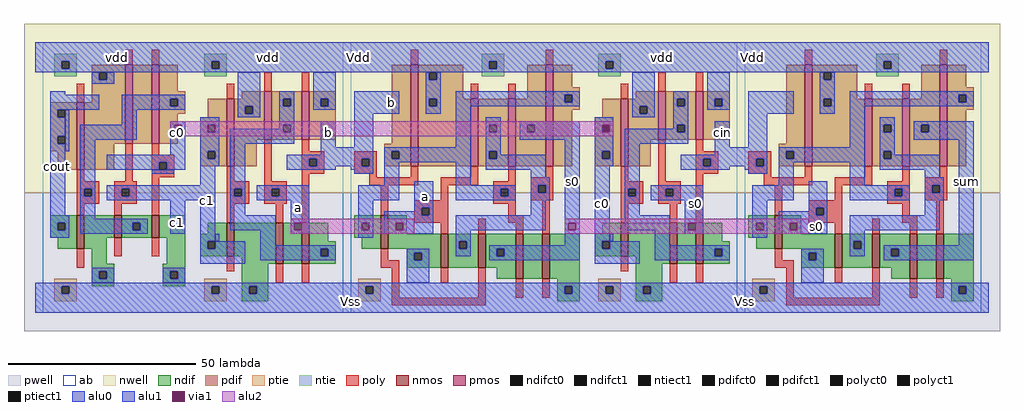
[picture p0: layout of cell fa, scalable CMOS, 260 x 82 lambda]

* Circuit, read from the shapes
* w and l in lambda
.subckt fa Vdd Vss a b c0 c1 cin cout s0 sum
M1 Vss n1 cout Vss nfet w=9 l=2
M2 n1 c1 Vss Vss nfet w=6 l=2
M3 Vss c0 n1 Vss nfet w=6 l=2
M4 Vss n2 c1 Vss nfet w=9 l=2
M5 n3 a Vss Vss nfet w=11 l=2
M6 n2 b n3 Vss nfet w=11 l=2
M7 Vss b n4 Vss nfet w=9 l=2
M8 n5 a Vss Vss nfet w=9 l=2
M9 s0 b n5 Vss nfet w=9 l=2
M10 n6 n4 s0 Vss nfet w=12 l=2
M11 Vss n5 n6 Vss nfet w=12 l=2
M12 Vss n7 c0 Vss nfet w=9 l=2
M13 n8 s0 Vss Vss nfet w=11 l=2
M14 n7 cin n8 Vss nfet w=11 l=2
M15 Vss cin n9 Vss nfet w=9 l=2
M16 n10 s0 Vss Vss nfet w=9 l=2
M17 sum cin n10 Vss nfet w=9 l=2
M18 n11 n9 sum Vss nfet w=12 l=2
M19 Vss n10 n11 Vss nfet w=12 l=2
M20 Vdd n1 cout Vdd pfet w=18 l=2
M21 n12 c1 Vdd Vdd pfet w=21 l=2
M22 n1 c0 n12 Vdd pfet w=21 l=2
M23 Vdd n2 c1 Vdd pfet w=18 l=2
M24 n2 a Vdd Vdd pfet w=13 l=2
M25 Vdd b n2 Vdd pfet w=13 l=2
M26 Vdd b n4 Vdd pfet w=27 l=2
M27 n5 a Vdd Vdd pfet w=18 l=2
M28 s0 n4 n5 Vdd pfet w=18 l=2
M29 n4 n5 s0 Vdd pfet w=27 l=2
M30 Vdd n7 c0 Vdd pfet w=18 l=2
M31 n7 s0 Vdd Vdd pfet w=13 l=2
M32 Vdd cin n7 Vdd pfet w=13 l=2
M33 Vdd cin n9 Vdd pfet w=27 l=2
M34 n10 s0 Vdd Vdd pfet w=18 l=2
M35 sum n9 n10 Vdd pfet w=18 l=2
M36 n9 n10 sum Vdd pfet w=27 l=2
.ends

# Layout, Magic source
magic
tech scmos
<< ab >>
rect -35 5 45 77
rect 47 5 150 77
rect 152 5 215 77
<< nwell >>
rect -40 37 220 82
<< pwell >>
rect -40 0 220 37
<< poly >>
rect -13 71 -11 75
rect -6 71 -4 75
rect -26 61 -24 66
rect 63 71 65 75
rect 14 62 16 66
rect 24 64 26 69
rect 34 64 36 69
rect -26 40 -24 43
rect -13 40 -11 50
rect -6 47 -4 50
rect -6 45 0 47
rect -6 43 -4 45
rect -2 43 0 45
rect -6 41 0 43
rect -26 38 -20 40
rect -26 36 -24 38
rect -22 36 -20 38
rect -26 34 -20 36
rect -16 38 -10 40
rect -16 36 -14 38
rect -12 36 -10 38
rect -16 34 -10 36
rect -26 31 -24 34
rect -16 31 -14 34
rect -6 31 -4 41
rect 14 40 16 44
rect 24 40 26 51
rect 34 48 36 51
rect 34 46 40 48
rect 34 44 36 46
rect 38 44 40 46
rect 34 42 40 44
rect 48 46 54 48
rect 48 44 50 46
rect 52 44 54 46
rect 99 71 101 75
rect 79 62 81 66
rect 89 62 91 66
rect 168 71 170 75
rect 119 62 121 66
rect 129 64 131 69
rect 139 64 141 69
rect 48 42 54 44
rect 14 38 20 40
rect 14 36 16 38
rect 18 36 20 38
rect 14 34 20 36
rect 24 38 30 40
rect 24 36 26 38
rect 28 36 30 38
rect 24 34 30 36
rect 14 29 16 34
rect 27 29 29 34
rect 34 29 36 42
rect 52 41 54 42
rect 63 41 65 44
rect 79 41 81 44
rect 52 39 65 41
rect 71 39 81 41
rect 89 40 91 44
rect 99 41 101 44
rect 55 31 57 39
rect 71 35 73 39
rect 64 33 73 35
rect 85 38 91 40
rect 85 36 87 38
rect 89 36 91 38
rect 85 34 91 36
rect 95 39 101 41
rect 95 37 97 39
rect 99 37 101 39
rect 95 35 101 37
rect 119 40 121 44
rect 129 40 131 51
rect 139 48 141 51
rect 139 46 145 48
rect 139 44 141 46
rect 143 44 145 46
rect 139 42 145 44
rect 153 46 159 48
rect 153 44 155 46
rect 157 44 159 46
rect 204 71 206 75
rect 184 62 186 66
rect 194 62 196 66
rect 153 42 159 44
rect 119 38 125 40
rect 119 36 121 38
rect 123 36 125 38
rect 64 31 66 33
rect 68 31 73 33
rect -26 17 -24 22
rect -16 20 -14 25
rect -6 20 -4 25
rect 14 16 16 20
rect 64 29 73 31
rect 89 31 91 34
rect 71 26 73 29
rect 81 26 83 30
rect 89 29 93 31
rect 91 26 93 29
rect 98 26 100 35
rect 119 34 125 36
rect 129 38 135 40
rect 129 36 131 38
rect 133 36 135 38
rect 129 34 135 36
rect 119 29 121 34
rect 132 29 134 34
rect 139 29 141 42
rect 157 41 159 42
rect 168 41 170 44
rect 184 41 186 44
rect 157 39 170 41
rect 176 39 186 41
rect 194 40 196 44
rect 204 41 206 44
rect 160 31 162 39
rect 176 35 178 39
rect 169 33 178 35
rect 190 38 196 40
rect 190 36 192 38
rect 194 36 196 38
rect 190 34 196 36
rect 200 39 206 41
rect 200 37 202 39
rect 204 37 206 39
rect 200 35 206 37
rect 169 31 171 33
rect 173 31 178 33
rect 55 19 57 22
rect 27 13 29 18
rect 34 13 36 18
rect 55 17 60 19
rect 58 9 60 17
rect 71 13 73 17
rect 81 9 83 17
rect 119 16 121 20
rect 169 29 178 31
rect 194 31 196 34
rect 176 26 178 29
rect 186 26 188 30
rect 194 29 198 31
rect 196 26 198 29
rect 203 26 205 35
rect 160 19 162 22
rect 91 9 93 14
rect 98 9 100 14
rect 58 7 83 9
rect 132 13 134 18
rect 139 13 141 18
rect 160 17 165 19
rect 163 9 165 17
rect 176 13 178 17
rect 186 9 188 17
rect 196 9 198 14
rect 203 9 205 14
rect 163 7 188 9
<< ndif >>
rect -33 29 -26 31
rect -33 27 -31 29
rect -29 27 -26 29
rect -33 25 -26 27
rect -31 22 -26 25
rect -24 25 -16 31
rect -14 29 -6 31
rect -14 27 -11 29
rect -9 27 -6 29
rect -14 25 -6 27
rect -4 25 3 31
rect 48 29 55 31
rect 9 26 14 29
rect -24 22 -18 25
rect -22 18 -18 22
rect -2 18 3 25
rect 7 24 14 26
rect 7 22 9 24
rect 11 22 14 24
rect 7 20 14 22
rect 16 20 27 29
rect -22 16 -16 18
rect -22 14 -20 16
rect -18 14 -16 16
rect -22 12 -16 14
rect -3 16 3 18
rect 18 18 27 20
rect 29 18 34 29
rect 36 24 41 29
rect 48 27 50 29
rect 52 27 55 29
rect 48 25 55 27
rect 36 22 43 24
rect 50 22 55 25
rect 57 26 62 31
rect 153 29 160 31
rect 114 26 119 29
rect 57 22 71 26
rect 36 20 39 22
rect 41 20 43 22
rect 36 18 43 20
rect 62 21 71 22
rect 62 19 64 21
rect 66 19 71 21
rect -3 14 -1 16
rect 1 14 3 16
rect -3 12 3 14
rect 18 12 25 18
rect 62 17 71 19
rect 73 24 81 26
rect 73 22 76 24
rect 78 22 81 24
rect 73 17 81 22
rect 83 22 91 26
rect 83 20 86 22
rect 88 20 91 22
rect 83 17 91 20
rect 18 10 20 12
rect 22 10 25 12
rect 18 8 25 10
rect 86 14 91 17
rect 93 14 98 26
rect 100 14 108 26
rect 112 24 119 26
rect 112 22 114 24
rect 116 22 119 24
rect 112 20 119 22
rect 121 20 132 29
rect 123 18 132 20
rect 134 18 139 29
rect 141 24 146 29
rect 153 27 155 29
rect 157 27 160 29
rect 153 25 160 27
rect 141 22 148 24
rect 155 22 160 25
rect 162 26 167 31
rect 162 22 176 26
rect 141 20 144 22
rect 146 20 148 22
rect 141 18 148 20
rect 167 21 176 22
rect 167 19 169 21
rect 171 19 176 21
rect 102 12 108 14
rect 102 10 104 12
rect 106 10 108 12
rect 102 8 108 10
rect 123 12 130 18
rect 167 17 176 19
rect 178 24 186 26
rect 178 22 181 24
rect 183 22 186 24
rect 178 17 186 22
rect 188 22 196 26
rect 188 20 191 22
rect 193 20 196 22
rect 188 17 196 20
rect 123 10 125 12
rect 127 10 130 12
rect 123 8 130 10
rect 191 14 196 17
rect 198 14 203 26
rect 205 14 213 26
rect 207 12 213 14
rect 207 10 209 12
rect 211 10 213 12
rect 207 8 213 10
<< pdif >>
rect -22 69 -13 71
rect -22 67 -20 69
rect -18 67 -13 69
rect -22 61 -13 67
rect -33 59 -26 61
rect -33 57 -31 59
rect -29 57 -26 59
rect -33 52 -26 57
rect -33 50 -31 52
rect -29 50 -26 52
rect -33 48 -26 50
rect -31 43 -26 48
rect -24 50 -13 61
rect -11 50 -6 71
rect -4 64 1 71
rect -4 62 3 64
rect 18 62 24 64
rect -4 60 -1 62
rect 1 60 3 62
rect -4 58 3 60
rect -4 50 1 58
rect 9 57 14 62
rect 7 55 14 57
rect 7 53 9 55
rect 11 53 14 55
rect -24 43 -16 50
rect 7 48 14 53
rect 7 46 9 48
rect 11 46 14 48
rect 7 44 14 46
rect 16 60 24 62
rect 16 58 19 60
rect 21 58 24 60
rect 16 51 24 58
rect 26 62 34 64
rect 26 60 29 62
rect 31 60 34 62
rect 26 55 34 60
rect 26 53 29 55
rect 31 53 34 55
rect 26 51 34 53
rect 36 62 43 64
rect 36 60 39 62
rect 41 60 43 62
rect 36 51 43 60
rect 16 44 22 51
rect 58 50 63 71
rect 56 48 63 50
rect 56 46 58 48
rect 60 46 63 48
rect 56 44 63 46
rect 65 69 77 71
rect 65 67 68 69
rect 70 67 77 69
rect 65 62 77 67
rect 94 62 99 71
rect 65 60 68 62
rect 70 60 79 62
rect 65 44 79 60
rect 81 55 89 62
rect 81 53 84 55
rect 86 53 89 55
rect 81 48 89 53
rect 81 46 84 48
rect 86 46 89 48
rect 81 44 89 46
rect 91 55 99 62
rect 91 53 94 55
rect 96 53 99 55
rect 91 44 99 53
rect 101 65 106 71
rect 101 63 108 65
rect 101 61 104 63
rect 106 61 108 63
rect 123 62 129 64
rect 101 59 108 61
rect 101 44 106 59
rect 114 57 119 62
rect 112 55 119 57
rect 112 53 114 55
rect 116 53 119 55
rect 112 48 119 53
rect 112 46 114 48
rect 116 46 119 48
rect 112 44 119 46
rect 121 60 129 62
rect 121 58 124 60
rect 126 58 129 60
rect 121 51 129 58
rect 131 62 139 64
rect 131 60 134 62
rect 136 60 139 62
rect 131 55 139 60
rect 131 53 134 55
rect 136 53 139 55
rect 131 51 139 53
rect 141 62 148 64
rect 141 60 144 62
rect 146 60 148 62
rect 141 51 148 60
rect 121 44 127 51
rect 163 50 168 71
rect 161 48 168 50
rect 161 46 163 48
rect 165 46 168 48
rect 161 44 168 46
rect 170 69 182 71
rect 170 67 173 69
rect 175 67 182 69
rect 170 62 182 67
rect 199 62 204 71
rect 170 60 173 62
rect 175 60 184 62
rect 170 44 184 60
rect 186 55 194 62
rect 186 53 189 55
rect 191 53 194 55
rect 186 48 194 53
rect 186 46 189 48
rect 191 46 194 48
rect 186 44 194 46
rect 196 55 204 62
rect 196 53 199 55
rect 201 53 204 55
rect 196 44 204 53
rect 206 65 211 71
rect 206 63 213 65
rect 206 61 209 63
rect 211 61 213 63
rect 206 59 213 61
rect 206 44 211 59
<< alu1 >>
rect -37 72 217 77
rect -37 70 -30 72
rect -28 70 10 72
rect 12 70 84 72
rect 86 70 115 72
rect 117 70 189 72
rect 191 70 217 72
rect -37 69 217 70
rect -33 63 -29 64
rect -33 59 -20 63
rect -33 57 -31 59
rect -33 52 -29 57
rect -33 50 -31 52
rect -33 31 -29 50
rect -1 55 3 56
rect -1 53 0 55
rect 2 53 3 55
rect -1 47 3 53
rect -18 45 3 47
rect -18 43 -4 45
rect -2 43 3 45
rect 7 55 12 57
rect 7 53 9 55
rect 11 53 12 55
rect 48 58 60 64
rect 7 48 12 53
rect 7 46 9 48
rect 11 46 12 48
rect 7 44 12 46
rect 7 39 11 44
rect -33 29 -28 31
rect -33 27 -31 29
rect -29 27 -28 29
rect -33 25 -28 27
rect -18 38 11 39
rect -18 36 -14 38
rect -12 36 11 38
rect -18 35 11 36
rect -1 26 3 35
rect 7 24 11 35
rect 39 49 43 56
rect 48 49 53 58
rect 39 47 53 49
rect 30 46 53 47
rect 30 44 36 46
rect 38 44 50 46
rect 52 44 53 46
rect 30 43 43 44
rect 47 43 53 44
rect 48 42 53 43
rect 22 38 36 39
rect 22 36 26 38
rect 28 36 36 38
rect 22 35 36 36
rect 7 22 9 24
rect 11 22 19 24
rect 7 18 19 22
rect 31 29 36 35
rect 31 27 32 29
rect 34 27 36 29
rect 31 26 36 27
rect 64 33 69 40
rect 92 55 108 56
rect 92 53 94 55
rect 96 53 108 55
rect 92 51 108 53
rect 64 32 66 33
rect 56 31 66 32
rect 68 31 69 33
rect 56 29 69 31
rect 56 27 59 29
rect 61 27 69 29
rect 56 26 69 27
rect 104 29 108 51
rect 104 27 105 29
rect 107 27 108 29
rect 104 23 108 27
rect 84 22 108 23
rect 84 20 86 22
rect 88 20 108 22
rect 84 19 108 20
rect 112 55 117 57
rect 112 53 114 55
rect 116 53 117 55
rect 153 58 165 64
rect 112 48 117 53
rect 112 46 114 48
rect 116 46 117 48
rect 112 44 117 46
rect 112 24 116 44
rect 144 49 148 56
rect 153 49 158 58
rect 144 47 158 49
rect 135 46 158 47
rect 135 44 141 46
rect 143 44 155 46
rect 157 44 158 46
rect 135 43 148 44
rect 152 43 158 44
rect 153 42 158 43
rect 127 38 141 39
rect 127 36 131 38
rect 133 36 141 38
rect 127 35 141 36
rect 112 22 114 24
rect 116 22 124 24
rect 112 18 124 22
rect 136 29 141 35
rect 136 27 137 29
rect 139 27 141 29
rect 136 26 141 27
rect 169 33 174 40
rect 197 55 213 56
rect 197 53 199 55
rect 201 53 213 55
rect 197 51 213 53
rect 169 32 171 33
rect 161 31 171 32
rect 173 31 174 33
rect 161 29 174 31
rect 161 27 164 29
rect 166 27 174 29
rect 161 26 174 27
rect 209 23 213 51
rect 189 22 213 23
rect 189 20 191 22
rect 193 20 213 22
rect 189 19 213 20
rect -37 12 217 13
rect -37 10 -30 12
rect -28 10 10 12
rect 12 10 20 12
rect 22 10 51 12
rect 53 10 104 12
rect 106 10 115 12
rect 117 10 125 12
rect 127 10 156 12
rect 158 10 209 12
rect 211 10 217 12
rect -37 5 217 10
<< alu2 >>
rect -1 55 117 56
rect -1 53 0 55
rect 2 53 114 55
rect 116 53 117 55
rect -1 52 117 53
rect 31 29 64 30
rect 31 27 32 29
rect 34 27 59 29
rect 61 27 64 29
rect 31 26 64 27
rect 104 29 169 30
rect 104 27 105 29
rect 107 27 137 29
rect 139 27 164 29
rect 166 27 169 29
rect 104 26 169 27
<< ptie >>
rect -32 12 -26 14
rect 8 12 14 14
rect -32 10 -30 12
rect -28 10 -26 12
rect -32 8 -26 10
rect 8 10 10 12
rect 12 10 14 12
rect 8 8 14 10
rect 49 12 55 14
rect 49 10 51 12
rect 53 10 55 12
rect 49 8 55 10
rect 113 12 119 14
rect 113 10 115 12
rect 117 10 119 12
rect 113 8 119 10
rect 154 12 160 14
rect 154 10 156 12
rect 158 10 160 12
rect 154 8 160 10
<< ntie >>
rect -32 72 -26 74
rect -32 70 -30 72
rect -28 70 -26 72
rect 8 72 14 74
rect -32 68 -26 70
rect 8 70 10 72
rect 12 70 14 72
rect 82 72 88 74
rect 8 68 14 70
rect 82 70 84 72
rect 86 70 88 72
rect 113 72 119 74
rect 82 68 88 70
rect 113 70 115 72
rect 117 70 119 72
rect 187 72 193 74
rect 113 68 119 70
rect 187 70 189 72
rect 191 70 193 72
rect 187 68 193 70
<< nmos >>
rect -26 22 -24 31
rect -16 25 -14 31
rect -6 25 -4 31
rect 14 20 16 29
rect 27 18 29 29
rect 34 18 36 29
rect 55 22 57 31
rect 71 17 73 26
rect 81 17 83 26
rect 91 14 93 26
rect 98 14 100 26
rect 119 20 121 29
rect 132 18 134 29
rect 139 18 141 29
rect 160 22 162 31
rect 176 17 178 26
rect 186 17 188 26
rect 196 14 198 26
rect 203 14 205 26
<< pmos >>
rect -26 43 -24 61
rect -13 50 -11 71
rect -6 50 -4 71
rect 14 44 16 62
rect 24 51 26 64
rect 34 51 36 64
rect 63 44 65 71
rect 79 44 81 62
rect 89 44 91 62
rect 99 44 101 71
rect 119 44 121 62
rect 129 51 131 64
rect 139 51 141 64
rect 168 44 170 71
rect 184 44 186 62
rect 194 44 196 62
rect 204 44 206 71
<< polyct0 >>
rect -24 36 -22 38
rect 16 36 18 38
rect 87 36 89 38
rect 97 37 99 39
rect 121 36 123 38
rect 192 36 194 38
rect 202 37 204 39
<< polyct1 >>
rect -4 43 -2 45
rect -14 36 -12 38
rect 36 44 38 46
rect 50 44 52 46
rect 26 36 28 38
rect 141 44 143 46
rect 155 44 157 46
rect 66 31 68 33
rect 131 36 133 38
rect 171 31 173 33
<< ndifct0 >>
rect -11 27 -9 29
rect -20 14 -18 16
rect 50 27 52 29
rect 39 20 41 22
rect 64 19 66 21
rect -1 14 1 16
rect 76 22 78 24
rect 155 27 157 29
rect 144 20 146 22
rect 169 19 171 21
rect 181 22 183 24
<< ndifct1 >>
rect -31 27 -29 29
rect 9 22 11 24
rect 86 20 88 22
rect 20 10 22 12
rect 114 22 116 24
rect 104 10 106 12
rect 191 20 193 22
rect 125 10 127 12
rect 209 10 211 12
<< ntiect1 >>
rect -30 70 -28 72
rect 10 70 12 72
rect 84 70 86 72
rect 115 70 117 72
rect 189 70 191 72
<< ptiect1 >>
rect -30 10 -28 12
rect 10 10 12 12
rect 51 10 53 12
rect 115 10 117 12
rect 156 10 158 12
<< pdifct0 >>
rect -20 67 -18 69
rect -1 60 1 62
rect 19 58 21 60
rect 29 60 31 62
rect 29 53 31 55
rect 39 60 41 62
rect 58 46 60 48
rect 68 67 70 69
rect 68 60 70 62
rect 84 53 86 55
rect 84 46 86 48
rect 104 61 106 63
rect 124 58 126 60
rect 134 60 136 62
rect 134 53 136 55
rect 144 60 146 62
rect 163 46 165 48
rect 173 67 175 69
rect 173 60 175 62
rect 189 53 191 55
rect 189 46 191 48
rect 209 61 211 63
<< pdifct1 >>
rect -31 57 -29 59
rect -31 50 -29 52
rect 9 53 11 55
rect 9 46 11 48
rect 94 53 96 55
rect 114 53 116 55
rect 114 46 116 48
rect 199 53 201 55
<< alu0 >>
rect -22 67 -20 69
rect -18 67 -16 69
rect -22 66 -16 67
rect -14 62 3 63
rect -14 60 -1 62
rect 1 60 3 62
rect -14 59 3 60
rect 17 60 23 69
rect -29 48 -28 59
rect -14 55 -10 59
rect 17 58 19 60
rect 21 58 23 60
rect 17 57 23 58
rect 28 62 32 64
rect 28 60 29 62
rect 31 60 32 62
rect -25 51 -10 55
rect -25 38 -21 51
rect 28 55 32 60
rect 37 62 43 69
rect 67 67 68 69
rect 70 67 71 69
rect 37 60 39 62
rect 41 60 43 62
rect 37 59 43 60
rect 67 62 71 67
rect 67 60 68 62
rect 70 60 71 62
rect 67 58 71 60
rect 75 63 108 64
rect 75 61 104 63
rect 106 61 108 63
rect 75 60 108 61
rect 122 60 128 69
rect 28 54 29 55
rect 15 53 29 54
rect 31 53 32 55
rect 15 50 32 53
rect -6 42 0 43
rect -25 36 -24 38
rect -22 36 -21 38
rect -25 30 -21 36
rect -25 29 -7 30
rect -25 27 -11 29
rect -9 27 -7 29
rect -25 26 -7 27
rect 15 38 19 50
rect 75 49 79 60
rect 122 58 124 60
rect 126 58 128 60
rect 122 57 128 58
rect 133 62 137 64
rect 133 60 134 62
rect 136 60 137 62
rect 56 48 79 49
rect 56 46 58 48
rect 60 46 79 48
rect 56 45 79 46
rect 56 39 60 45
rect 15 36 16 38
rect 18 36 19 38
rect 15 31 19 36
rect 15 27 27 31
rect 11 24 12 26
rect 23 23 27 27
rect 49 35 60 39
rect 49 29 53 35
rect 75 39 79 45
rect 83 55 87 57
rect 83 53 84 55
rect 86 53 87 55
rect 83 48 87 53
rect 83 46 84 48
rect 86 47 87 48
rect 86 46 99 47
rect 83 43 99 46
rect 95 41 99 43
rect 95 39 100 41
rect 75 38 91 39
rect 75 36 87 38
rect 89 36 91 38
rect 75 35 91 36
rect 95 37 97 39
rect 99 37 100 39
rect 95 35 100 37
rect 49 27 50 29
rect 52 27 53 29
rect 49 25 53 27
rect 95 31 99 35
rect 75 27 99 31
rect 75 24 79 27
rect 23 22 43 23
rect 75 22 76 24
rect 78 22 79 24
rect 23 20 39 22
rect 41 20 43 22
rect 23 19 43 20
rect 62 21 68 22
rect 62 19 64 21
rect 66 19 68 21
rect 75 20 79 22
rect 133 55 137 60
rect 142 62 148 69
rect 172 67 173 69
rect 175 67 176 69
rect 142 60 144 62
rect 146 60 148 62
rect 142 59 148 60
rect 172 62 176 67
rect 172 60 173 62
rect 175 60 176 62
rect 172 58 176 60
rect 180 63 213 64
rect 180 61 209 63
rect 211 61 213 63
rect 180 60 213 61
rect 133 54 134 55
rect 120 53 134 54
rect 136 53 137 55
rect 120 50 137 53
rect 120 38 124 50
rect 180 49 184 60
rect 161 48 184 49
rect 161 46 163 48
rect 165 46 184 48
rect 161 45 184 46
rect 161 39 165 45
rect 120 36 121 38
rect 123 36 124 38
rect 120 31 124 36
rect 120 27 132 31
rect 116 24 117 26
rect -22 16 -16 17
rect -22 14 -20 16
rect -18 14 -16 16
rect -22 13 -16 14
rect -3 16 3 17
rect -3 14 -1 16
rect 1 14 3 16
rect -3 13 3 14
rect 62 13 68 19
rect 128 23 132 27
rect 154 35 165 39
rect 154 29 158 35
rect 180 39 184 45
rect 188 55 192 57
rect 188 53 189 55
rect 191 53 192 55
rect 188 48 192 53
rect 188 46 189 48
rect 191 47 192 48
rect 191 46 204 47
rect 188 43 204 46
rect 200 41 204 43
rect 200 39 205 41
rect 180 38 196 39
rect 180 36 192 38
rect 194 36 196 38
rect 180 35 196 36
rect 200 37 202 39
rect 204 37 205 39
rect 200 35 205 37
rect 154 27 155 29
rect 157 27 158 29
rect 154 25 158 27
rect 200 31 204 35
rect 180 27 204 31
rect 180 24 184 27
rect 128 22 148 23
rect 180 22 181 24
rect 183 22 184 24
rect 128 20 144 22
rect 146 20 148 22
rect 128 19 148 20
rect 167 21 173 22
rect 167 19 169 21
rect 171 19 173 21
rect 180 20 184 22
rect 167 13 173 19
<< via1 >>
rect 0 53 2 55
rect 32 27 34 29
rect 59 27 61 29
rect 105 27 107 29
rect 114 53 116 55
rect 137 27 139 29
rect 164 27 166 29
<< labels >>
rlabel alu1 58 61 58 61 6 b
rlabel alu1 49 73 49 73 1 Vdd
rlabel alu1 33 33 33 33 6 a
rlabel alu1 25 73 25 73 6 vdd
rlabel alu1 41 53 41 53 6 b
rlabel alu1 47 8 47 8 1 Vss
rlabel alu1 67 36 67 36 1 a
rlabel alu1 154 73 154 73 1 Vdd
rlabel alu1 211 40 211 40 1 sum
rlabel alu1 130 73 130 73 6 vdd
rlabel alu1 152 8 152 8 1 Vss
rlabel alu1 146 53 146 53 1 cin
rlabel alu1 139 34 139 34 1 s0
rlabel alu1 106 40 106 40 1 s0
rlabel alu1 171 28 171 28 1 s0
rlabel alu1 114 34 114 34 1 c0
rlabel alu1 9 35 9 35 1 c1
rlabel alu1 -15 73 -15 73 6 vdd
rlabel alu1 1 29 1 29 1 c1
rlabel alu1 1 53 1 53 1 c0
rlabel alu1 -31 44 -31 44 1 cout
<< end >>
